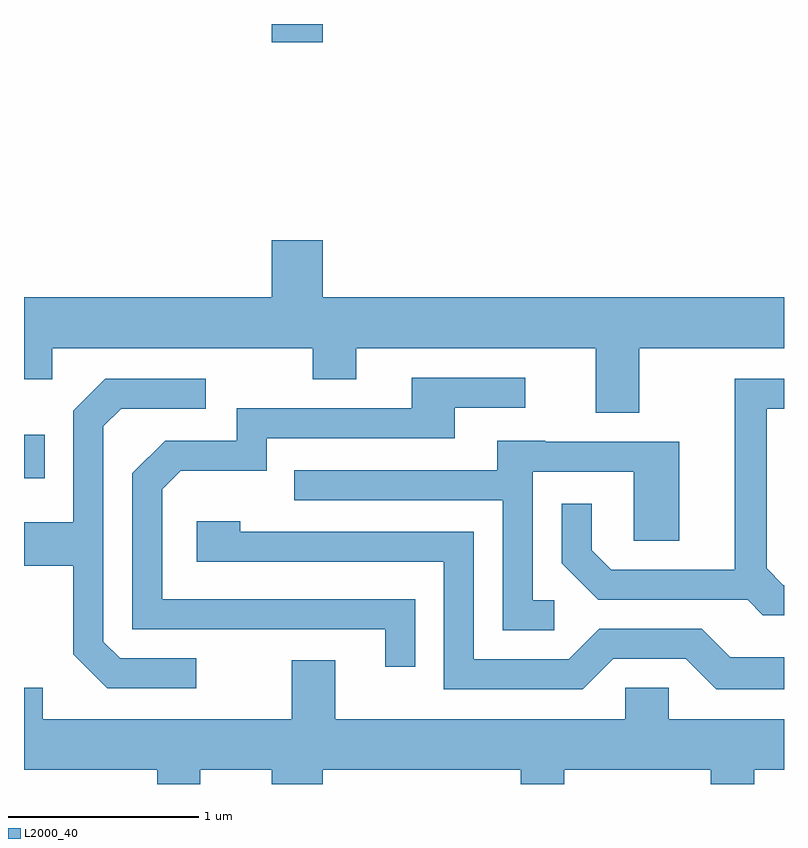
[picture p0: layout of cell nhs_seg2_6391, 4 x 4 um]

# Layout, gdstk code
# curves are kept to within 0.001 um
import gdstk
lib = gdstk.Library(unit=1e-6, precision=1e-09)
def R(c, l, rs):  # rectangles x0, y0, x1, y1
    for r in rs: c.add(gdstk.rectangle(r[:2], r[2:], *l))
def P(c, l, *ps):  # polygons
    for p in ps: c.add(gdstk.Polygon(p, *l))
L2000_40 = (2000, 40)

nhs_seg2_6391 = lib.new_cell('nhs_seg2_6391')
R(nhs_seg2_6391, L2000_40, [(373.611,1045.411,373.719,1045.639), (374.916,1047.706,375.184,1047.802)])
P(nhs_seg2_6391, L2000_40, [(376.849,1046.096),(377.611,1046.096),(377.611,1046.364),(375.184,1046.364),(375.184,1046.664),(374.916,1046.664),(374.916,1046.364),(373.611,1046.364),(373.611,1045.931),(373.759,1045.931),(373.759,1046.096),(375.131,1046.096),(375.131,1045.931),(375.359,1045.931),(375.359,1046.096),(376.621,1046.096),(376.621,1045.756),(376.849,1045.756)],
  [(375.669,1044.774),(374.339,1044.774),(374.339,1045.353),(374.437,1045.451),(374.889,1045.451),(374.889,1045.621),(375.879,1045.621),(375.879,1045.781),(376.248,1045.781),(376.248,1045.939),(375.651,1045.939),(375.651,1045.779),(374.731,1045.779),(374.731,1045.609),(374.354,1045.609),(374.181,1045.437),(374.181,1044.616),(375.511,1044.616),(375.511,1044.418),(375.669,1044.418)],
  [(374.518,1044.464),(374.117,1044.464),(374.029,1044.552),(374.029,1045.684),(374.122,1045.776),(374.568,1045.776),(374.568,1045.934),(374.039,1045.934),(373.871,1045.767),(373.871,1045.179),(373.611,1045.179),(373.611,1044.951),(373.871,1044.951),(373.871,1044.484),(374.049,1044.306),(374.518,1044.306)],
  [(377.611,1044.849),(377.607,1044.849),(377.519,1044.937),(377.519,1045.776),(377.611,1045.776),(377.611,1045.934),(377.351,1045.934),(377.351,1044.929),(376.702,1044.929),(376.599,1045.032),(376.599,1045.277),(376.441,1045.277),(376.441,1044.964),(376.634,1044.771),(377.419,1044.771),(377.499,1044.691),(377.611,1044.691)],
  [(376.403,1044.769),(376.289,1044.769),(376.289,1045.446),(376.821,1045.446),(376.821,1045.081),(377.059,1045.081),(377.059,1045.604),(376.355,1045.604),(376.355,1045.609),(376.101,1045.609),(376.101,1045.454),(375.033,1045.454),(375.033,1045.296),(376.131,1045.296),(376.131,1044.611),(376.403,1044.611)],
  [(376.712,1044.461),(377.094,1044.461),(377.254,1044.301),(377.611,1044.301),(377.611,1044.469),(377.327,1044.469),(377.177,1044.619),(376.639,1044.619),(376.479,1044.459),(375.979,1044.459),(375.979,1045.129),(374.749,1045.129),(374.749,1045.184),(374.521,1045.184),(374.521,1044.971),(375.821,1044.971),(375.821,1044.301),(376.552,1044.301)],
  [(374.539,1043.876),(374.916,1043.876),(374.916,1043.802),(375.184,1043.802),(375.184,1043.876),(376.226,1043.876),(376.226,1043.802),(376.454,1043.802),(376.454,1043.876),(377.226,1043.876),(377.226,1043.802),(377.454,1043.802),(377.454,1043.876),(377.611,1043.876),(377.611,1044.144),(377.004,1044.144),(377.004,1044.309),(376.776,1044.309),(376.776,1044.144),(375.249,1044.144),(375.249,1044.454),(375.021,1044.454),(375.021,1044.144),(373.709,1044.144),(373.709,1044.309),(373.611,1044.309),(373.611,1043.876),(374.311,1043.876),(374.311,1043.802),(374.539,1043.802)])

lib.write_gds('nhs_seg2_6391.gds')
